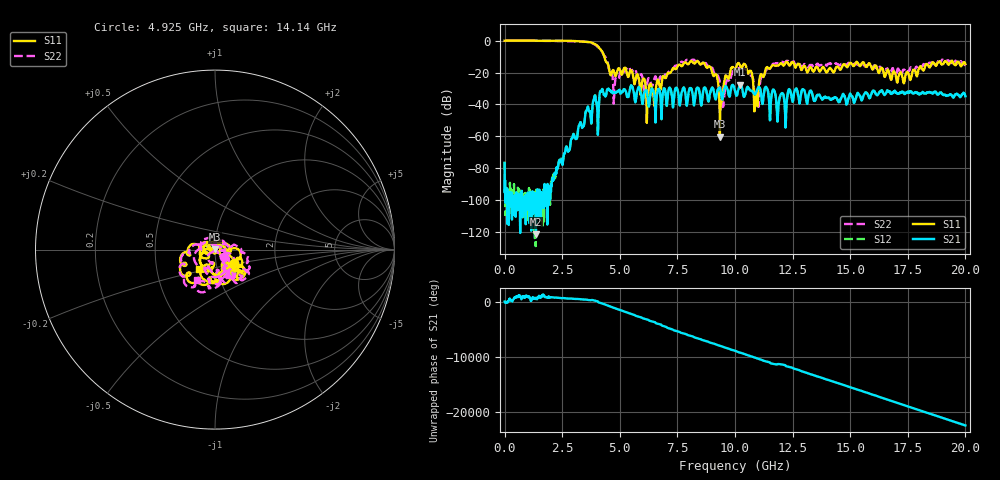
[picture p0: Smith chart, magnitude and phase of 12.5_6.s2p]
#  HZ  S  RI  R  50.00
! Rohde & Schwarz Vector Network Analyzer
! Rohde-Schwarz,ZNB20-2Port,1311601062102128,3.60
! Created: UTC 4/29/2024, 2:56:54 PM
! freq[Hz]  re:S11  im:S11  re:S21  im:S21  re:S12  im:S12  re:S22  im:S22
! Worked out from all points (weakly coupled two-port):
!   2007 points, 100 kHz to 20 GHz, reference 50 ohm
!   highest |S21| = -27.65 dB at 10.23 GHz (marker M1); lowest = -121.5 dB at 1.356 GHz (marker M2)
!   lowest |S11| = -60.3 dB at 9.342 GHz (marker M3), VSWR 1.00, Z = 50.1 + j0.0806 ohm
!   |S11| at or under -10 dB: 4.326 GHz to end of sweep
!   |S22| runs from -41.7 to 0.1 dB; largest |S21 - S12| = 0.0022
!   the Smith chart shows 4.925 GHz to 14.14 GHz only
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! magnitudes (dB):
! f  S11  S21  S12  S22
! 100 kHz  0.0  -76.9  -75.7  0.1
! 1.356 GHz  -0.1  -121.5  -93.8  -0.1
! 2.233 GHz  0.0  -82.3  -83.0  -0.3
! 3.34 GHz  -0.6  -53.9  -53.6  -0.6
! 4.158 GHz  -5.5  -31.9  -31.5  -5.2
! 4.776 GHz  -20.7  -32.5  -32.4  -28.7
! 5.354 GHz  -22.7  -35.4  -35.2  -16.3
! 6.211 GHz  -35.1  -35.9  -36.0  -24.9
! 6.67 GHz  -24.8  -30.3  -30.3  -26.4
! 8.375 GHz  -12.8  -29.5  -29.5  -12.9
! 9.173 GHz  -21.2  -36.4  -36.4  -22.4
! 9.342 GHz  -60.3  -30.1  -30.1  -26.8
! 9.482 GHz  -32.2  -34.2  -34.2  -40.9
! 10 GHz  -18.7  -31.5  -31.5  -19.5
! 10.23 GHz  -16.0  -27.7  -27.7  -16.8
! 10.69 GHz  -19.0  -31.4  -31.4  -22.1
! 10.91 GHz  -33.3  -32.6  -32.6  -36.3
! 11.42 GHz  -16.7  -30.9  -30.9  -16.9
! 11.86 GHz  -15.7  -45.6  -45.8  -14.1
! 13.34 GHz  -18.0  -32.8  -32.8  -15.3
! 16.67 GHz  -19.1  -31.8  -31.8  -20.5
! 20 GHz  -14.6  -34.9  -34.9  -14.4
